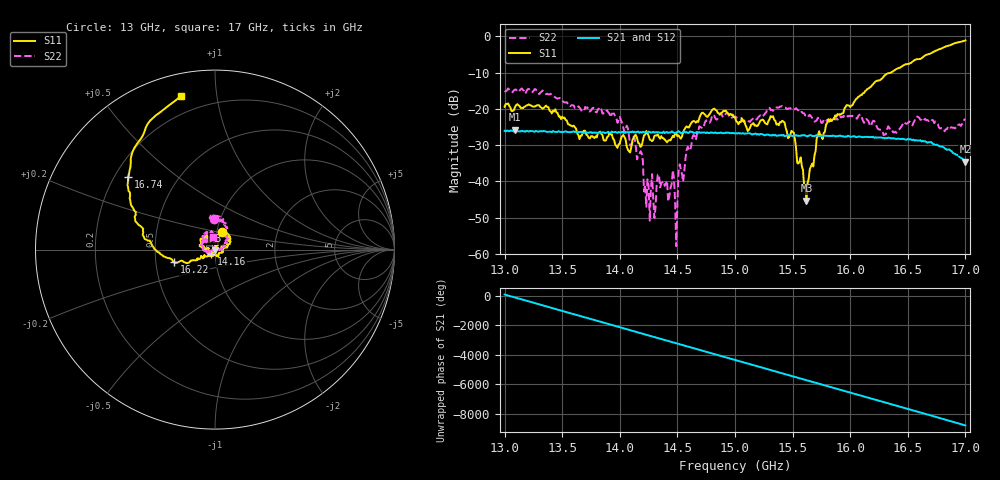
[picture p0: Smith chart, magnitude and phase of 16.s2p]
!Keysight Technologies,P9374A,MY57211807,A.19.30.04
!Date: Friday, May 01, 2026 14:11:24
!Correction: S11(C  2-Port  )
!S21(C  2-Port  )
!S12(C  2-Port  )
!S22(C  2-Port  )
!S2P File: Measurements: S11, S21, S12, S22:
# Hz S  RI  R 50
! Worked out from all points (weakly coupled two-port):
!   401 points, 13 GHz to 17 GHz, reference 50 ohm
!   highest |S21| = -25.76 dB at 13.09 GHz (marker M1); lowest = -34.6 dB at 17 GHz (marker M2)
!   lowest |S11| = -45.3 dB at 15.62 GHz (marker M3), VSWR 1.01, Z = 50.3 - j0.481 ohm
!   |S11| at or under -10 dB: start of sweep to 16.35 GHz
!   |S22| runs from -57.8 to -14.4 dB; largest |S21 - S12| = 0.0017
!   S11 on the Smith chart (normalised r, x): 13 GHz: 1.06, +0.21; 14.16 GHz: 0.95, -0.05; 16.22 GHz: 0.62, -0.09; 16.74 GHz: 0.25, +0.34; 17 GHz: 0.11, +0.80
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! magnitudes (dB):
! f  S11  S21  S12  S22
! 13 GHz  -19.4  -26.1  -26.0  -15.3
! 13.09 GHz  -19.5  -25.8  -25.8  -14.7
! 13.36 GHz  -19.1  -26.3  -26.3  -16.0
! 13.67 GHz  -27.4  -26.4  -26.3  -20.7
! 13.95 GHz  -28.6  -26.4  -26.5  -21.3
! 14.16 GHz  -29.4  -26.3  -26.2  -32.8
! 14.24 GHz  -26.7  -26.5  -26.5  -39.4
! 14.34 GHz  -27.8  -26.5  -26.4  -38.2
! 14.46 GHz  -27.4  -26.4  -26.4  -36.9
! 14.49 GHz  -26.8  -26.5  -26.4  -57.8
! 14.59 GHz  -25.1  -26.6  -26.6  -30.4
! 14.69 GHz  -22.6  -26.4  -26.4  -24.8
! 15 GHz  -22.3  -26.8  -26.8  -22.2
! 15.41 GHz  -23.3  -27.3  -27.3  -19.2
! 15.51 GHz  -26.5  -27.3  -27.3  -20.0
! 15.62 GHz  -45.3  -27.5  -27.5  -22.0
! 15.67 GHz  -35.1  -27.5  -27.5  -22.5
! 15.81 GHz  -22.8  -27.4  -27.4  -23.0
! 16.22 GHz  -12.4  -27.8  -27.8  -24.2
! 16.34 GHz  -10.1  -28.0  -27.9  -25.2
! 16.74 GHz  -4.0  -29.9  -29.9  -23.5
! 17 GHz  -1.2  -34.6  -34.6  -22.8
